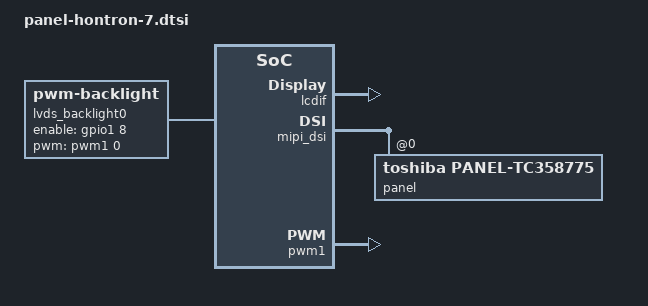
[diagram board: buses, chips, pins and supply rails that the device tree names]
/*
 * Copyright 2020 MYiR Devices
 */
 /*hontron a4-cm1 7.0 inch */

/{
	lvds_backlight0: lvds_backlight@0 {
		compatible = "pwm-backlight";
		pwms = <&pwm1 0 1000000 >; /*1KHZ*/
		enable-gpios = <&gpio1 8 GPIO_ACTIVE_HIGH>; 
		brightness-levels = < 0  1  2  3  4  5  6  7  8  9
				     10 11 12 13 14 15 16 17 18 19
				     20 21 22 23 24 25 26 27 28 29
				     30 31 32 33 34 35 36 37 38 39
				     40 41 42 43 44 45 46 47 48 49
				     50 51 52 53 54 55 56 57 58 59
				     60 61 62 63 64 65 66 67 68 69
				     70 71 72 73 74 75 76 77 78 79
				     80 81 82 83 84 85 86 87 88 89
				     90 91 92 93 94 95 96 97 98 99
				    100>;
		default-brightness-level = <80>;
	};
};

&lcdif{
        max-res = <1024>, <600>;
        status = "okay";
};

&mipi_dsi{
	
	panel@0 {
	    compatible = "toshiba,panel-tc358775";
	    reg = <0>;
	    
	    panel-width-mm = <154>;
	    panel-height-mm = <85>;
	    
	    toshiba,debug = <0>;
	    toshiba,ppi_tx_rx_ta =         <0x00020003>;
	    toshiba,ppi_lptxtimecnt =      <0x00000002>;
	    toshiba,ppi_d0s_clrsipocount = <0x00000001>;
	    toshiba,ppi_d1s_clrsipocount = <0x00000001>;
	    toshiba,ppi_d2s_clrsipocount = <0x00000001>;
	    toshiba,ppi_d3s_clrsipocount = <0x00000001>;
	    toshiba,ppi_laneenable =       <0x0000001f>; 
	    toshiba,dsi_laneenable =       <0x0000001f>; 
	    toshiba,ppi_sartppi =          <0x00000001>; 
	    toshiba,dsi_sartppi =          <0x00000001>;
	    
	    toshiba,vpctrl =               <0x03F00100>; 
	    toshiba,htim1 =                <0x00a00074>;
	    toshiba,htim2 =                <0x00180400>;
	    toshiba,vtim1 =                <0x00180003>;
	    toshiba,vtim2 =                <0x00020258>;
	    toshiba,vfuen =                <0x00000001>;
	    toshiba,lvphy0 =               <0x0044802d>;
	    toshiba,lvphy0_1 =             <0x0004802d>;
	    toshiba,sysrst =               <0x00000004>; 
	    
	    toshiba,lvmx0003 =             <0x03020100>;
	    toshiba,lvmx0407 =             <0x08050704>;
	    toshiba,lvmx0811 =             <0x0f0e0a09>;
	    toshiba,lvmx1215 =             <0x100d0c0b>;
	    toshiba,lvmx2023 =             <0x1b151413>;
	    toshiba,lvmx2427 =             <0x061a1918>;
	    toshiba,lvmx1619 =             <0x12111716>;
	    toshiba,lvcfg    =             <0x00000031>;
		
	    client-device  = <&tc358775>;
	    display-timings {
	    	native-mode = <&timing0>;
	    	timing0:timing0{
	    		clock-frequency = <50000000>;
	    		hactive = <1024>;
	    		hsync-len = <116>;
	    		hback-porch = <160>;
	    		hfront-porch = <24>;
	    		vactive = <599>;
	    		vsync-len = <3>;
	    		vback-porch = <24>;
	    		vfront-porch = <2>;
	    		
	    		vsync-active = <0>;
	    		hsync-active =<0>;
	    		de-active =<0>;
	    		pixelclk-active =<0>;
	    	};
	    };

	};

};

&iomuxc {
	imx8mm-evk {
		pinctrl_pwm1: lvds0pwm1grp {
			fsl,pins = <
				MX8MM_IOMUXC_GPIO1_IO01_PWM1_OUT 0x19
			>;
		};

	};

};

&pwm1 {
	pinctrl-names = "default";
	pinctrl-0 = <&pinctrl_pwm1>;
	status = "okay";
};

